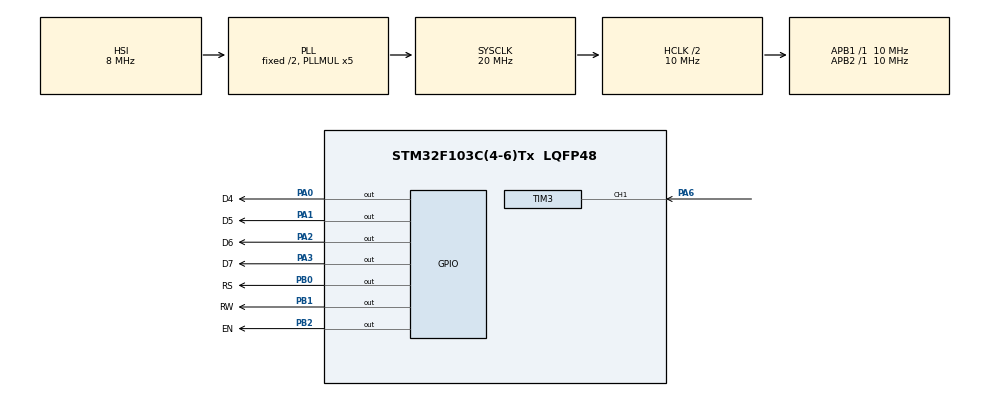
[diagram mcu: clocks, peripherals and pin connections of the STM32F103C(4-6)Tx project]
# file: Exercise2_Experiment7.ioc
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Mcu.Family=STM32F1
Mcu.Name=STM32F103C(4-6)Tx
Mcu.Package=LQFP48
NVIC.PriorityGroup=NVIC_PRIORITYGROUP_4
NVIC.TIM3_IRQn=true\:0\:0\:false\:false\:true\:true\:true\:true
PA0-WKUP.GPIO_Label=D4
PA0-WKUP.Signal=GPIO_Output
PA1.GPIO_Label=D5
PA1.Signal=GPIO_Output
PA2.GPIO_Label=D6
PA2.Signal=GPIO_Output
PA3.GPIO_Label=D7
PA3.Signal=GPIO_Output
PA6.Signal=S_TIM3_CH1
PB0.GPIO_Label=RS
PB0.Signal=GPIO_Output
PB1.GPIO_Label=RW
PB1.Signal=GPIO_Output
PB2.GPIO_Label=EN
PB2.Signal=GPIO_Output
ProjectManager.HeapSize=0x200
ProjectManager.StackSize=0x400
ProjectManager.TargetToolchain=STM32CubeIDE
RCC.AHBCLKDivider=RCC_SYSCLK_DIV2
RCC.AHBFreq_Value=10000000
RCC.APB1Freq_Value=10000000
RCC.APB1TimFreq_Value=10000000
RCC.APB2Freq_Value=10000000
RCC.APB2TimFreq_Value=10000000
RCC.HCLKFreq_Value=10000000
RCC.PLLMUL=RCC_PLL_MUL5
RCC.SYSCLKFreq_VALUE=20000000
RCC.SYSCLKSource=RCC_SYSCLKSOURCE_PLLCLK
RCC.USBFreq_Value=20000000
SH.S_TIM3_CH1.0=TIM3_CH1,Input_Capture1_from_TI1
TIM3.AutoReloadPreload=TIM_AUTORELOAD_PRELOAD_ENABLE
TIM3.Channel-Input_Capture1_from_TI1=TIM_CHANNEL_1
TIM3.Period=60000-1
VP_TIM3_VS_ClockSourceINT.Mode=Internal
board=custom

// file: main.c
/* USER CODE BEGIN Header */
/**
  ******************************************************************************
  * @file           : main.c
  * @brief          : Main program body
  ******************************************************************************
  * @attention
  *
  * Copyright (c) 2023 STMicroelectronics.
  * All rights reserved.
  *
  * This software is licensed under terms that can be found in the LICENSE file
  * in the root directory of this software component.
  * If no LICENSE file comes with this software, it is provided AS-IS.
  *
  ******************************************************************************
  */
/* USER CODE END Header */
#include "main.h"
#include "stdio.h"
/* USER CODE BEGIN Includes */
void lcd_init(void);
void send_command(uint8_t data);
void send_Idata(uint8_t data);
void send_data(uint8_t data);
void lcd_puts(uint8_t *str);
void lcd_clear(void);
void lcd_gotoxy(uint8_t x, uint8_t y);
/* USER CODE END Includes */

TIM_HandleTypeDef htim3;

void SystemClock_Config(void);
static void MX_GPIO_Init(void);
static void MX_TIM3_Init(void);

/* USER CODE BEGIN 0 */
float freq;
int ovc_value=0;
int start_flag=0;
int value_1=0;
int value_2=0;
char str[32];

void lcd_init(void)
{
  HAL_Delay(2);
  send_command(0x02);
  send_command(0x28);
  send_command(0x0F);
}

void send_command(uint8_t data)
{
	HAL_Delay(2);
	HAL_GPIO_WritePin(GPIOB,GPIO_PIN_0,GPIO_PIN_RESET);
	HAL_GPIO_WritePin(GPIOB,GPIO_PIN_1,GPIO_PIN_RESET);

	send_Idata(data >>4);
	send_Idata(data);

}

void send_Idata(uint8_t data)
{
	HAL_Delay(10);
	int temp[4];

	for (int i=0; i<4;i++)
	{

		temp[i]=data%2;
		data=data>>1;

	}

	HAL_GPIO_WritePin(GPIOA,GPIO_PIN_0,temp[0]);
	HAL_GPIO_WritePin(GPIOA,GPIO_PIN_1,temp[1]);
	HAL_GPIO_WritePin(GPIOA,GPIO_PIN_2,temp[2]);
	HAL_GPIO_WritePin(GPIOA,GPIO_PIN_3,temp[3]);

	HAL_GPIO_WritePin(GPIOB,GPIO_PIN_2,GPIO_PIN_SET);
	HAL_Delay(2);
	HAL_GPIO_WritePin(GPIOB,GPIO_PIN_2,GPIO_PIN_RESET);

}

void send_data(uint8_t data)
{
	HAL_Delay(2);
	HAL_GPIO_WritePin(GPIOB,GPIO_PIN_0,GPIO_PIN_SET);
	HAL_GPIO_WritePin(GPIOB,GPIO_PIN_1,GPIO_PIN_RESET);

	send_Idata(data >>4);

	send_Idata(data);

}

void lcd_puts(uint8_t *str)
{
  HAL_Delay(2);
  while(*str !=0x00)
  {
	  send_data(*str);
    str++;
  }
}

void lcd_clear(void)
{
  HAL_Delay(1);
  send_command(0x01);

}

void lcd_gotoxy(uint8_t x, uint8_t y)
{
  HAL_Delay(1);

    switch(y){
    case 0:
      send_command( 0x80 + x );
    break;
    case 1:
      send_command( 0xC0 + x );
      break;

  }
}

/* USER CODE END 0 */

int main(void)
{

  /* MCU Configuration--------------------------------------------------------*/

  /* Reset of all peripherals, Initializes the Flash interface and the Systick. */
  HAL_Init();

  /* Configure the system clock */
  SystemClock_Config();

  /* Initialize all configured peripherals */
  MX_GPIO_Init();
  MX_TIM3_Init();
  /* USER CODE BEGIN 2 */
  lcd_init();
   HAL_TIM_Base_Start_IT(&htim3);
   HAL_TIM_IC_Start_IT(&htim3, TIM_CHANNEL_1);
  /* USER CODE END 2 */

  /* Infinite loop */
  while (1)
  {

    /* USER CODE BEGIN 3 */
	  lcd_gotoxy(0,0);
	  sprintf(str,"freq=%u",freq);
	  lcd_puts((uint8_t *) str);
	  lcd_gotoxy(0,1);
	  sprintf(str,"dutycycle=%u",freq/2);
	  lcd_puts((uint8_t *) str);

  }
  /* USER CODE END 3 */
}

void SystemClock_Config(void)
{
  RCC_OscInitTypeDef RCC_OscInitStruct = {0};
  RCC_ClkInitTypeDef RCC_ClkInitStruct = {0};

  /** Initializes the RCC Oscillators according to the specified parameters
  * in the RCC_OscInitTypeDef structure.
  */
  RCC_OscInitStruct.OscillatorType = RCC_OSCILLATORTYPE_HSI;
  RCC_OscInitStruct.HSIState = RCC_HSI_ON;
  RCC_OscInitStruct.HSICalibrationValue = RCC_HSICALIBRATION_DEFAULT;
  RCC_OscInitStruct.PLL.PLLState = RCC_PLL_ON;
  RCC_OscInitStruct.PLL.PLLSource = RCC_PLLSOURCE_HSI_DIV2;
  RCC_OscInitStruct.PLL.PLLMUL = RCC_PLL_MUL5;
  if (HAL_RCC_OscConfig(&RCC_OscInitStruct) != HAL_OK)
  {
    Error_Handler();
  }

  /** Initializes the CPU, AHB and APB buses clocks
  */
  RCC_ClkInitStruct.ClockType = RCC_CLOCKTYPE_HCLK|RCC_CLOCKTYPE_SYSCLK
                              |RCC_CLOCKTYPE_PCLK1|RCC_CLOCKTYPE_PCLK2;
  RCC_ClkInitStruct.SYSCLKSource = RCC_SYSCLKSOURCE_PLLCLK;
  RCC_ClkInitStruct.AHBCLKDivider = RCC_SYSCLK_DIV2;
  RCC_ClkInitStruct.APB1CLKDivider = RCC_HCLK_DIV1;
  RCC_ClkInitStruct.APB2CLKDivider = RCC_HCLK_DIV1;

  if (HAL_RCC_ClockConfig(&RCC_ClkInitStruct, FLASH_LATENCY_0) != HAL_OK)
  {
    Error_Handler();
  }
}

static void MX_TIM3_Init(void)
{

  TIM_ClockConfigTypeDef sClockSourceConfig = {0};
  TIM_MasterConfigTypeDef sMasterConfig = {0};
  TIM_IC_InitTypeDef sConfigIC = {0};

  htim3.Instance = TIM3;
  htim3.Init.Prescaler = 0;
  htim3.Init.CounterMode = TIM_COUNTERMODE_UP;
  htim3.Init.Period = 60000-1;
  htim3.Init.ClockDivision = TIM_CLOCKDIVISION_DIV1;
  htim3.Init.AutoReloadPreload = TIM_AUTORELOAD_PRELOAD_ENABLE;
  if (HAL_TIM_Base_Init(&htim3) != HAL_OK)
  {
    Error_Handler();
  }
  sClockSourceConfig.ClockSource = TIM_CLOCKSOURCE_INTERNAL;
  if (HAL_TIM_ConfigClockSource(&htim3, &sClockSourceConfig) != HAL_OK)
  {
    Error_Handler();
  }
  if (HAL_TIM_IC_Init(&htim3) != HAL_OK)
  {
    Error_Handler();
  }
  sMasterConfig.MasterOutputTrigger = TIM_TRGO_RESET;
  sMasterConfig.MasterSlaveMode = TIM_MASTERSLAVEMODE_DISABLE;
  if (HAL_TIMEx_MasterConfigSynchronization(&htim3, &sMasterConfig) != HAL_OK)
  {
    Error_Handler();
  }
  sConfigIC.ICPolarity = TIM_INPUTCHANNELPOLARITY_RISING;
  sConfigIC.ICSelection = TIM_ICSELECTION_DIRECTTI;
  sConfigIC.ICPrescaler = TIM_ICPSC_DIV1;
  sConfigIC.ICFilter = 0;
  if (HAL_TIM_IC_ConfigChannel(&htim3, &sConfigIC, TIM_CHANNEL_1) != HAL_OK)
  {
    Error_Handler();
  }

}

static void MX_GPIO_Init(void)
{
  GPIO_InitTypeDef GPIO_InitStruct = {0};

  /* GPIO Ports Clock Enable */
  __HAL_RCC_GPIOA_CLK_ENABLE();
  __HAL_RCC_GPIOB_CLK_ENABLE();

  /*Configure GPIO pin Output Level */
  HAL_GPIO_WritePin(GPIOA, D4_Pin|D5_Pin|D6_Pin|D7_Pin, GPIO_PIN_RESET);

  /*Configure GPIO pin Output Level */
  HAL_GPIO_WritePin(GPIOB, RS_Pin|RW_Pin|EN_Pin, GPIO_PIN_RESET);

  /*Configure GPIO pins : D4_Pin D5_Pin D6_Pin D7_Pin */
  GPIO_InitStruct.Pin = D4_Pin|D5_Pin|D6_Pin|D7_Pin;
  GPIO_InitStruct.Mode = GPIO_MODE_OUTPUT_PP;
  GPIO_InitStruct.Pull = GPIO_NOPULL;
  GPIO_InitStruct.Speed = GPIO_SPEED_FREQ_LOW;
  HAL_GPIO_Init(GPIOA, &GPIO_InitStruct);

  /*Configure GPIO pins : RS_Pin RW_Pin EN_Pin */
  GPIO_InitStruct.Pin = RS_Pin|RW_Pin|EN_Pin;
  GPIO_InitStruct.Mode = GPIO_MODE_OUTPUT_PP;
  GPIO_InitStruct.Pull = GPIO_NOPULL;
  GPIO_InitStruct.Speed = GPIO_SPEED_FREQ_LOW;
  HAL_GPIO_Init(GPIOB, &GPIO_InitStruct);

}

/* USER CODE BEGIN 4 */
void HAL_TIM_PeriodElapsedCallback(TIM_HandleTypeDef *htim){
      UNUSED(htim);
      ovc_value++;
}
void HAL_TIM_IC_CaptureCallback(TIM_HandleTypeDef *htim){
	UNUSED(htim);
	if(!start_flag){
		value_1=HAL_TIM_ReadCapturedValue(&htim3,TIM_CHANNEL_1);
		ovc_value=0;
		start_flag=1;
	}
	else if(start_flag==1){
		value_2=HAL_TIM_ReadCapturedValue(&htim3,TIM_CHANNEL_1);
		freq=(float)10000/((value_2+(ovc_value*60000))-value_1);
		start_flag=0;
	}
}

/* USER CODE END 4 */

void Error_Handler(void)
{
  __disable_irq();
  while (1)
  {
  }
}
